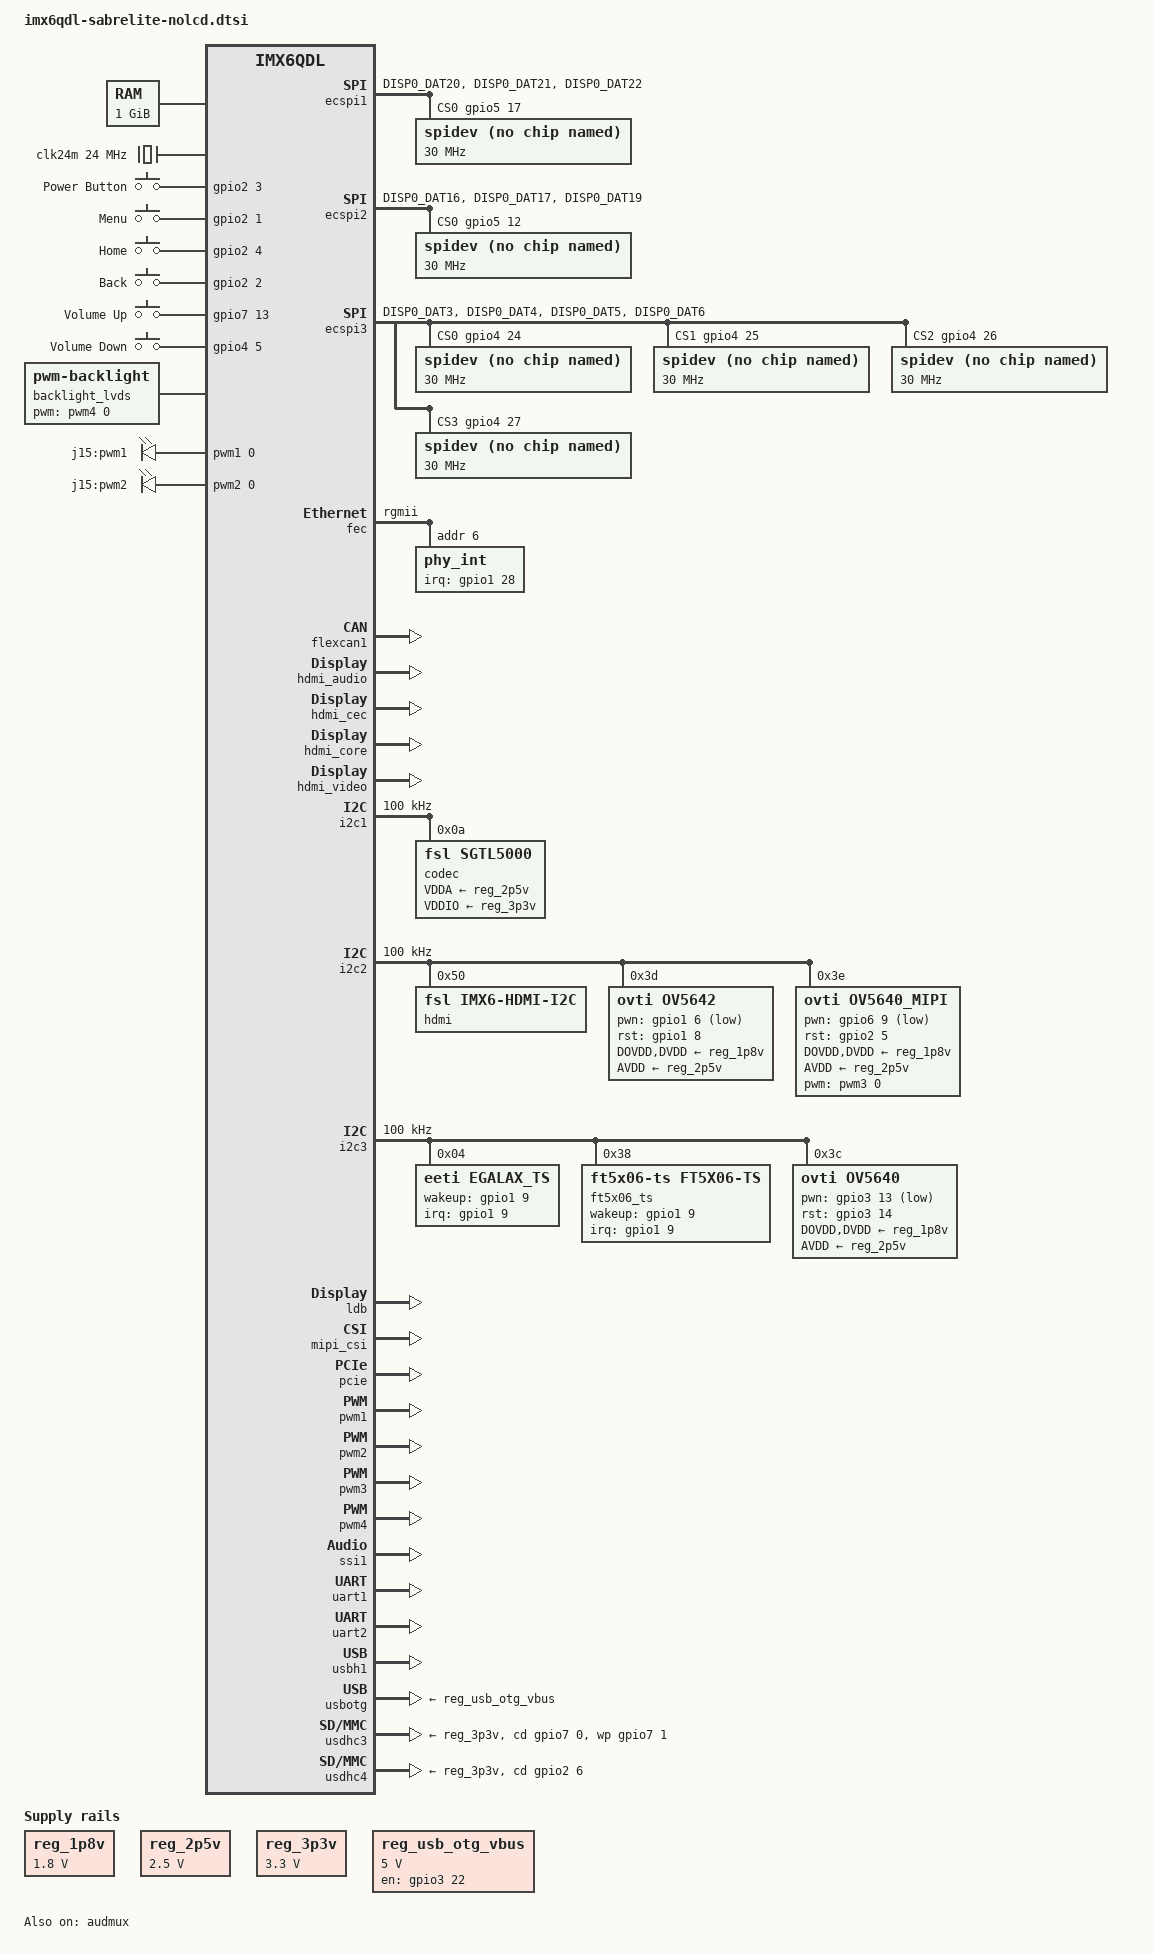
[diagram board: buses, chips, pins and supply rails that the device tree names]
/*
 * Copyright 2012 Freescale Semiconductor, Inc.
 * Copyright 2011 Linaro Ltd.
 *
 * The code contained herein is licensed under the GNU General Public
 * License. You may obtain a copy of the GNU General Public License
 * Version 2 or later at the following locations:
 *
 * http://www.opensource.org/licenses/gpl-license.html
 * http://www.gnu.org/copyleft/gpl.html
 */
#include <dt-bindings/input/input.h>

/ {
	aliases {
		mxcfb0 = &mxcfb1;
		mxcfb1 = &mxcfb2;
		mxcfb2 = &mxcfb3;
		mxcfb3 = &mxcfb4;
	};

	memory {
		reg = <0x10000000 0x40000000>;
	};

	clocks {
		clk24m: clk24m {
			compatible = "fixed-clock";
			#clock-cells = <0>;
			clock-frequency = <24000000>;
		};
	};

	regulators {
		compatible = "simple-bus";

		reg_1p8v: 1p8v {
			compatible = "regulator-fixed";
			regulator-name = "1P8V";
			regulator-min-microvolt = <1800000>;
			regulator-max-microvolt = <1800000>;
			regulator-always-on;
		};

		reg_2p5v: 2p5v {
			compatible = "regulator-fixed";
			regulator-name = "2P5V";
			regulator-min-microvolt = <2500000>;
			regulator-max-microvolt = <2500000>;
			regulator-always-on;
		};

		reg_3p3v: 3p3v {
			compatible = "regulator-fixed";
			regulator-name = "3P3V";
			regulator-min-microvolt = <3300000>;
			regulator-max-microvolt = <3300000>;
			regulator-always-on;
		};

		reg_usb_otg_vbus: usb_otg_vbus {
			compatible = "regulator-fixed";
			regulator-name = "usb_otg_vbus";
			regulator-min-microvolt = <5000000>;
			regulator-max-microvolt = <5000000>;
			gpio = <&gpio3 22 0>;
			enable-active-high;
		};
	};

	gpio-keys {
		compatible = "gpio-keys";
		power {
			label = "Power Button";
			gpios = <&gpio2 3 0>;
			linux,code = <KEY_POWER>;	/* or KEY_SEARCH */
			gpio-key,wakeup;
		};

		menu {
			label = "Menu";
			gpios = <&gpio2 1 0>;
			linux,code = <KEY_MENU>;
		};

		home {
			label = "Home";
			gpios = <&gpio2 4 0>;
			linux,code = <KEY_HOME>;
		};

		back {
			label = "Back";
			gpios = <&gpio2 2 0>;
			linux,code = <KEY_BACK>;
		};

		volume-up {
			label = "Volume Up";
			gpios = <&gpio7 13 0>;
			linux,code = <KEY_VOLUMEUP>;
		};

		volume-down {
			label = "Volume Down";
			gpios = <&gpio4 5 0>;
			linux,code = <KEY_VOLUMEDOWN>;
		};
	};

	sound {
		compatible = "fsl,imx6q-sabrelite-sgtl5000",
			     "fsl,imx-audio-sgtl5000";
		model = "imx6q-sabrelite-sgtl5000";
		ssi-controller = <&ssi1>;
		audio-codec = <&codec>;
		audio-routing =
			"MIC_IN", "Mic Jack",
			"Mic Jack", "Mic Bias",
			"Headphone Jack", "HP_OUT";
		mux-int-port = <1>;
		mux-ext-port = <4>;
	};
	sound-hdmi {
		compatible = "fsl,imx6q-audio-hdmi",
			     "fsl,imx-audio-hdmi";
		model = "imx-audio-hdmi";
		hdmi-controller = <&hdmi_audio>;
	};

	mxcfb1: fb@0 {
		compatible = "fsl,mxc_sdc_fb";
#if 0
		disp_dev = "mipi_dsi";
		interface_pix_fmt = "RGB666";
		mode_str ="LDB-XGA";
		default_bpp = <16>;
		int_clk = <0>;
		late_init = <0>;
		status = "disabled";
#else
		disp_dev = "ldb";
		interface_pix_fmt = "RGB666";
		mode_str ="LDB-XGA";
		default_bpp = <16>;
		int_clk = <0>;
		late_init = <0>;
		status = "disabled";
#endif
	};

	mxcfb2: fb@1 {
		compatible = "fsl,mxc_sdc_fb";
		disp_dev = "hdmi";
		interface_pix_fmt = "RGB24";
		mode_str ="1920x1080M@60";
		default_bpp = <24>;
		int_clk = <0>;
		late_init = <0>;
		status = "disabled";
	};

	mxcfb3: fb@2 {
		compatible = "fsl,mxc_sdc_fb";
		disp_dev = "lcd";
		interface_pix_fmt = "RGB565";
		mode_str ="CLAA-WVGA";
		default_bpp = <16>;
		int_clk = <0>;
		late_init = <0>;
		status = "disabled";
	};

	mxcfb4: fb@3 {
		compatible = "fsl,mxc_sdc_fb";
		disp_dev = "ldb";
		interface_pix_fmt = "RGB666";
		mode_str ="LDB-XGA";
		default_bpp = <16>;
		int_clk = <0>;
		late_init = <0>;
		status = "disabled";
	};

	backlight_lvds {
		compatible = "pwm-backlight";
		pwms = <&pwm4 0 5000000>;
		brightness-levels = <0 4 8 16 32 64 128 255>;
		default-brightness-level = <7>;
	};

	v4l2_cap_0 {
		compatible = "fsl,imx6q-v4l2-capture";
		ipu_id = <0>;
		csi_id = <0>;
		mclk_source = <0>;
		status = "okay";
	};

	v4l2_cap_1 {
		compatible = "fsl,imx6q-v4l2-capture";
		ipu_id = <0>;
		csi_id = <1>;
		mclk_source = <0>;
		status = "okay";
	};

	v4l2_cap_2: v4l2_cap_2 {
	};

	v4l2_out {
		compatible = "fsl,mxc_v4l2_output";
		status = "okay";
	};

#if 0
	mipi_dsi_reset: mipi-dsi-reset {
		compatible = "gpio-reset";
		reset-gpios = <&gpio2 5 GPIO_ACTIVE_LOW>;
		reset-delay-us = <50>;
		#reset-cells = <0>;
	};
#endif
	pwmleds {
		compatible = "pwm-leds";

		j15_pwm1 {
			label = "j15:pwm1";
			pwms = <&pwm1 0 5000000>;
			max-brightness = <255>;
		};
		j15_pwm2 {
			label = "j15:pwm2";
			pwms = <&pwm2 0 5000000>;
			max-brightness = <255>;
		};
	};
};

&audmux {
	pinctrl-names = "default";
	pinctrl-0 = <&pinctrl_audmux_1>;
	status = "okay";
};

&iomuxc {
	ecspi1 {
		pinctrl_ecspi1_3: ecspi1grp-3 {
			fsl,pins = <
				MX6QDL_PAD_DISP0_DAT20__ECSPI1_SCLK 0x100b1
				MX6QDL_PAD_DISP0_DAT21__ECSPI1_MOSI 0x100b1
				MX6QDL_PAD_DISP0_DAT22__ECSPI1_MISO 0x100b1
			>;
		};
	};
	ecspi2 {
		pinctrl_ecspi2_cs_1: ecspi2_cs_grp-1 {
			fsl,pins = <
				MX6QDL_PAD_DISP0_DAT18__GPIO5_IO12 0x80000000
			>;
		};
		pinctrl_ecspi2_1: ecspi2grp-1 {
			fsl,pins = <
				MX6QDL_PAD_DISP0_DAT16__ECSPI2_MOSI 0x100b1
				MX6QDL_PAD_DISP0_DAT17__ECSPI2_MISO 0x100b1
				MX6QDL_PAD_DISP0_DAT19__ECSPI2_SCLK 0x100b1
			>;
		};
	};
	ecspi3 {
		pinctrl_ecspi3_cs_1: ecspi3_cs_grp-1 {
			fsl,pins = <
				MX6QDL_PAD_DISP0_DAT3__GPIO4_IO24 0x80000000
			>;
		};
		pinctrl_ecspi3_cs_2: ecspi3_cs_grp-2 {
			fsl,pins = <
				MX6QDL_PAD_DISP0_DAT4__GPIO4_IO25 0x80000000
			>;
		};
		pinctrl_ecspi3_cs_3: ecspi3_cs_grp-3 {
			fsl,pins = <
				MX6QDL_PAD_DISP0_DAT5__GPIO4_IO26 0x80000000
			>;
		};
		pinctrl_ecspi3_cs_4: ecspi3_cs_grp-4 {
			fsl,pins = <
				MX6QDL_PAD_DISP0_DAT6__GPIO4_IO27 0x80000000
			>;
		};
	};
};

&ecspi1 {
	fsl,spi-num-chipselects = <1>;
	cs-gpios = <&gpio5 17 0>;
	pinctrl-names = "default";
	pinctrl-0 = <&pinctrl_ecspi1_3>;
	status = "okay";
        spidev@0x00 {
                compatible = "spidev";
                spi-max-frequency = <30000000>;
                reg = <0>;
        };
};

&ecspi2 {
	fsl,spi-num-chipselects = <1>;
	cs-gpios = <&gpio5 12 0>;
	pinctrl-names = "default";
	pinctrl-0 = <&pinctrl_ecspi2_1>;
	status = "okay";
        spidev@0x00 {
                compatible = "spidev";
                spi-max-frequency = <30000000>;
                reg = <0>;
        };
};

&ecspi3 {
	fsl,spi-num-chipselects = <4>;
	cs-gpios = <&gpio4 24 0>,
		   <&gpio4 25 0>,
		   <&gpio4 26 0>,
		   <&gpio4 27 0>;
	pinctrl-names = "default";
	pinctrl-0 = <&pinctrl_ecspi3_1 
	             &pinctrl_ecspi3_cs_1
		     &pinctrl_ecspi3_cs_2
		     &pinctrl_ecspi3_cs_3
		     &pinctrl_ecspi3_cs_4>;
	status = "okay";
        spidev@0x00 {
                compatible = "spidev";
                spi-max-frequency = <30000000>;
                reg = <0>;
        };
        spidev@0x01 {
                compatible = "spidev";
                spi-max-frequency = <30000000>;
                reg = <1>;
        };
        spidev@0x02 {
                compatible = "spidev";
                spi-max-frequency = <30000000>;
                reg = <2>;
        };
        spidev@0x03 {
                compatible = "spidev";
                spi-max-frequency = <30000000>;
                reg = <3>;
        };
};

&fec {
	pinctrl-names = "default";
	pinctrl-0 = <&pinctrl_enet_4>;
	phy-mode = "rgmii";
#if 0
	phy-reset-gpios = <&gpio3 23 0>;
#endif
	status = "okay";

	#address-cells = <0>;
	#size-cells = <1>;
	phy_int {
		reg = <0x6>;
		interrupt-parent = <&gpio1>;
		interrupts = <28 IRQ_TYPE_LEVEL_LOW>;
	};
};

&flexcan1 {
	pinctrl-names = "default";
	pinctrl-0 = <&pinctrl_flexcan1_1>;
	trx-stby-gpio = <&gpio1 2 GPIO_ACTIVE_LOW>;
	status = "okay";
};

&hdmi_audio {
	status = "okay";
};

&hdmi_cec {
	pinctrl-names = "default";
	pinctrl-0 = <&pinctrl_hdmi_cec_2>;
	status = "okay";
};

&hdmi_core {
	ipu_id = <0>;
	disp_id = <0>;
	status = "okay";
};

&hdmi_video {
	fsl,phy_reg_vlev = <0x0294>;
	fsl,phy_reg_cksymtx = <0x800d>;
	status = "okay";
};

&i2c1 {
	clock-frequency = <100000>;
	pinctrl-names = "default";
	pinctrl-0 = <&pinctrl_i2c1_1>;
	status = "okay";

	codec: sgtl5000@0a {
		compatible = "fsl,sgtl5000";
		reg = <0x0a>;
		clocks = <&clks 201>;
		VDDA-supply = <&reg_2p5v>;
		VDDIO-supply = <&reg_3p3v>;
	};
};

&i2c2 {
	clock-frequency = <100000>;
	pinctrl-names = "default";
	pinctrl-0 = <&pinctrl_i2c2_2>;
	status = "okay";

	hdmi: edid@50 {
		compatible = "fsl,imx6-hdmi-i2c";
		reg = <0x50>;
	};

	ov5642: ov5642@3d {
		compatible = "ovti,ov5642";
		reg = <0x3d>;
		pinctrl-names = "default";
		pinctrl-0 = <&pinctrl_ipu1_2>;
		clocks = <&clks 200>;
		clock-names = "csi_mclk";
		DOVDD-supply = <&reg_1p8v>;
		AVDD-supply = <&reg_2p5v>;
		DVDD-supply = <&reg_1p8v>;
		pwn-gpios = <&gpio1 6 1>;
		rst-gpios = <&gpio1 8 0>;
		ipu_id = <0>;
		csi_id = <0>;
		mclk = <24000000>;
		mclk_source = <0>;
	};

	ov5640_mipi: ov5640_mipi@3e {
		compatible = "ovti,ov5640_mipi";
		reg = <0x3e>;
		clocks = <&clks 147>;
		clock-names = "csi_mclk";
		DOVDD-supply = <&reg_1p8v>;
		AVDD-supply = <&reg_2p5v>;
		DVDD-supply = <&reg_1p8v>;
		pwn-gpios = <&gpio6 9 1>;
		rst-gpios = <&gpio2 5 0>;
		ipu_id = <0>;
		csi_id = <1>;
		mclk = <22000000>;
		mclk_source = <0>;
		pwms = <&pwm3 0 45>;
	};
};

&i2c3 {
        clock-frequency = <100000>;
        pinctrl-names = "default";
        pinctrl-0 = <&pinctrl_i2c3_3>;
        status = "okay";

        egalax_ts@04 {
                compatible = "eeti,egalax_ts";
                reg = <0x04>;
                interrupt-parent = <&gpio1>;
                interrupts = <9 2>;
                wakeup-gpios = <&gpio1 9 0>;
        };

        ft5x06_ts@38 {
		compatible = "ft5x06-ts,ft5x06-ts";
		reg = <0x38>;
		interrupt-parent = <&gpio1>;
		interrupts = <9 2>;
		wakeup-gpios = <&gpio1 9 0>;
	};

	ov5640: ov5640@3c {
		compatible = "ovti,ov5640";
		reg = <0x3c>;
		pinctrl-names = "default";
		pinctrl-0 = <&pinctrl_ov5640 &pinctrl_ov5640_gpios>;
		clocks = <&clk24m 0>;
		clock-names = "csi_mclk";
		DOVDD-supply = <&reg_1p8v>;
		AVDD-supply = <&reg_2p5v>;
		DVDD-supply = <&reg_1p8v>;
		pwn-gpios = <&gpio3 13 1>;
		rst-gpios = <&gpio3 14 0>;
		csi_id = <1>;
		mclk = <24000000>;
		mclk_source = <0>;
	};
};

&iomuxc {
	pinctrl-names = "default";
	pinctrl-0 = <
		&pinctrl_hog_1
		&pinctrl_lcd_gpios_1
	>;

	imx6q-sabrelite {
		pinctrl_hog_1: hoggrp-1 {
			fsl,pins = <
				/* Power Button */
                                MX6QDL_PAD_NANDF_D3__GPIO2_IO03         0x1b0b0
                                /* Menu Button */
                                MX6QDL_PAD_NANDF_D1__GPIO2_IO01         0x1b0b0
                                /* Home Button */
                                MX6QDL_PAD_NANDF_D4__GPIO2_IO04         0x1b0b0
                                /* Back Button */
                                MX6QDL_PAD_NANDF_D2__GPIO2_IO02         0x1b0b0
                                /* Volume Up Button */
                                MX6QDL_PAD_GPIO_18__GPIO7_IO13          0x1b0b0
                                /* Volume Down Button */
                                MX6QDL_PAD_GPIO_19__GPIO4_IO05          0x1b0b0
				MX6QDL_PAD_EIM_D19__GPIO3_IO19		0x80000000	/* spi-nor CS */
				MX6QDL_PAD_EIM_D22__GPIO3_IO22		0x80000000	/* otg power en */
				MX6QDL_PAD_EIM_D23__GPIO3_IO23		0x0f0b0		/* ethernet phy reset */
				MX6QDL_PAD_ENET_TX_EN__GPIO1_IO28	0x1b0b0		/* ethernet phy interrupt */
				MX6QDL_PAD_SD3_DAT5__GPIO7_IO00		0x80000000	/* USDHC3 CD */
				MX6QDL_PAD_SD3_DAT4__GPIO7_IO01		0x1f0b0		/* USDHC3 WP */
				MX6QDL_PAD_NANDF_D6__GPIO2_IO06		0x80000000	/* uSDHC4 CD */
				MX6QDL_PAD_NANDF_D7__GPIO2_IO07		0x80000000	/* Spare */
				MX6QDL_PAD_GPIO_0__CCM_CLKO1		0x000b0		/* SGTL5000 sys_mclk */
				MX6QDL_PAD_GPIO_2__GPIO1_IO02		0x80000000	/* CAN standby */
				MX6QDL_PAD_GPIO_4__GPIO1_IO04		0x80000000	/* CAN enable */
				MX6QDL_PAD_GPIO_9__GPIO1_IO09		0x80000000	/* I2C3 touch screen interrupt */
				MX6QDL_PAD_NANDF_WP_B__GPIO6_IO09	0x0b0b0		/* ov5640 mipi powerdown */
				MX6QDL_PAD_NANDF_D5__GPIO2_IO05		0x000b0		/* ov5640 mipi reset */
				MX6QDL_PAD_GPIO_3__CCM_CLKO2		0x000b0		/* ov5642 mclk */
				MX6QDL_PAD_GPIO_6__GPIO1_IO06		0x000b0		/* ov5642 Power Down */
				MX6QDL_PAD_GPIO_8__GPIO1_IO08		0x000b0		/* ov5642 Reset */
				MX6QDL_PAD_GPIO_17__GPIO7_IO12		0x0b0b0		/* USB Hub Reset */
			>;
		
		};

		pinctrl_lcd_gpios_1: hoggrp-2 {
			fsl,pins = <
				MX6QDL_PAD_DI0_DISP_CLK__GPIO4_IO16	0x1b0b0
				MX6QDL_PAD_DI0_PIN15__GPIO4_IO17	0x1b0b0
				MX6QDL_PAD_DI0_PIN2__GPIO4_IO18		0x1b0b0
				MX6QDL_PAD_DI0_PIN3__GPIO4_IO19		0x1b0b0
				MX6QDL_PAD_DI0_PIN4__GPIO4_IO20		0x1b0b0
				MX6QDL_PAD_DISP0_DAT7__GPIO4_IO28	0x1b0b0
				MX6QDL_PAD_DISP0_DAT8__GPIO4_IO29	0x1b0b0
				MX6QDL_PAD_DISP0_DAT10__GPIO4_IO31	0x1b0b0
				MX6QDL_PAD_DISP0_DAT11__GPIO5_IO05	0x1b0b0
				MX6QDL_PAD_DISP0_DAT12__GPIO5_IO06	0x1b0b0
				MX6QDL_PAD_DISP0_DAT13__GPIO5_IO07	0x1b0b0
				MX6QDL_PAD_DISP0_DAT14__GPIO5_IO08	0x1b0b0
			>;
		};
		
		pinctrl_ov5640: pinctrl_ov5640 {
			/* parallel camera on CSI1, pins differ for iMX6Q/iMX6DL */
		};

		pinctrl_ov5640_gpios: pinctrl_ov5640_gpios {
			fsl,pins = <
				MX6QDL_PAD_EIM_DA13__GPIO3_IO13		0x0b0b0		/* Power */
				MX6QDL_PAD_EIM_DA14__GPIO3_IO14		0x030b0		/* Reset */
			>;
		};
	};
};

&ldb {
	ipu_id = <0>;
	disp_id = <1>;
	ext_ref = <1>;
	mode = "sin0";
	sec_ipu_id = <1>;
	sec_disp_id = <1>;
	status = "okay";
};

#if 0
&mipi_dsi {
	dev_id = <0>;
	disp_id = <0>;
	lcd_panel = "hitachi-1080p";
	disp-power-on-supply = <&reg_3p3v>;
	resets = <&mipi_dsi_reset>;
	status = "okay";
};
#endif

&mipi_csi {
	lanes = <2>;
	status = "okay";
};

&pcie {
	status = "okay";
};

&pwm1 {
	pinctrl-names = "default";
	pinctrl-0 = <&pinctrl_pwm1_1>;
	status = "okay";
};

&pwm2 {
	pinctrl-names = "default";
	pinctrl-0 = <&pinctrl_pwm2_1>;
	status = "okay";
};

&pwm3 {
	pinctrl-names = "default";
	pinctrl-0 = <&pinctrl_pwm3_2>;
	status = "okay";
};

&pwm4 {
	pinctrl-names = "default";
	pinctrl-0 = <&pinctrl_pwm4_2>;
	status = "okay";
};

&ssi1 {
	fsl,mode = "i2s-slave";
	status = "okay";
};

&uart1 {
	pinctrl-names = "default";
	pinctrl-0 = <&pinctrl_uart1_2>;
	status = "okay";
};

&uart2 {
	pinctrl-names = "default";
	pinctrl-0 = <&pinctrl_uart2_1>;
	status = "okay";
};

&usbh1 {
	status = "okay";
};

&usbotg {
	vbus-supply = <&reg_usb_otg_vbus>;
	pinctrl-names = "default";
	pinctrl-0 = <&pinctrl_usbotg_1>;
	disable-over-current;
	status = "okay";
};

&usdhc3 {
	pinctrl-names = "default";
	pinctrl-0 = <&pinctrl_usdhc3_2>;
	cd-gpios = <&gpio7 0 0>;
	wp-gpios = <&gpio7 1 0>;
	vmmc-supply = <&reg_3p3v>;
	status = "okay";
};

&usdhc4 {
	pinctrl-names = "default";
	pinctrl-0 = <&pinctrl_usdhc4_2>;
	cd-gpios = <&gpio2 6 0>;
	vmmc-supply = <&reg_3p3v>;
	status = "okay";
};
